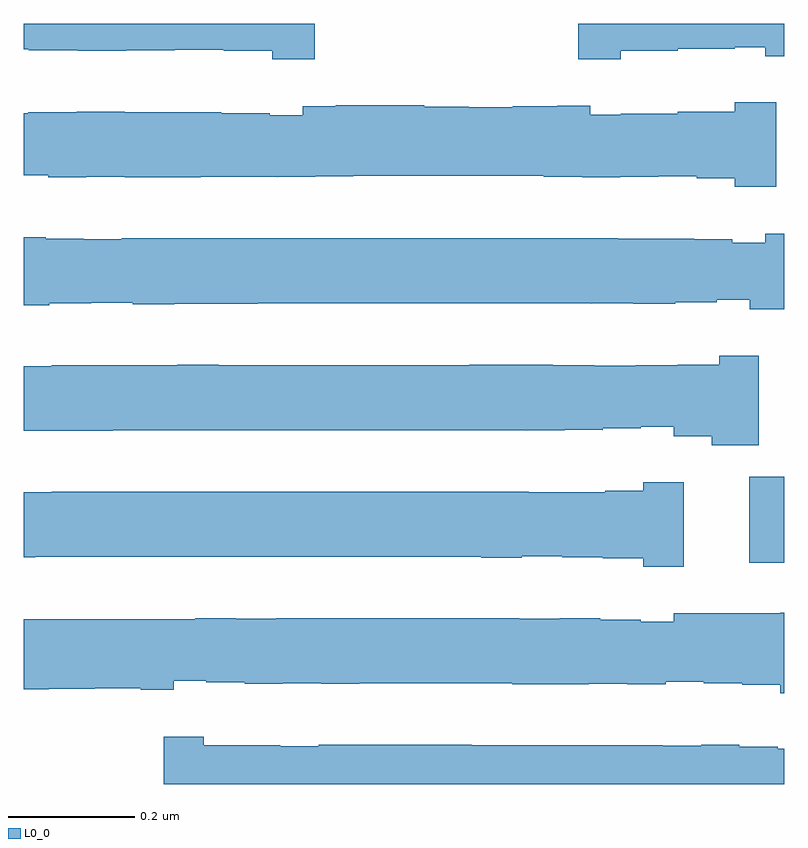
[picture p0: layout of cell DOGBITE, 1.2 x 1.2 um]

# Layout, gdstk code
import gdstk
lib = gdstk.Library(unit=1e-6, precision=1e-10)
def R(c, l, rs):  # rectangles x0, y0, x1, y1
    for r in rs: c.add(gdstk.rectangle(r[:2], r[2:], *l))
def P(c, l, *ps):  # polygons
    for p in ps: c.add(gdstk.Polygon(p, *l))
L0_0 = (0, 0)

dogbite = lib.new_cell('DOGBITE')
R(dogbite, L0_0, [(10.5448,9.7494,10.6,9.885)])
P(dogbite, L0_0, [(9.6203,9.4744),(9.6841,9.4744),(9.6841,9.4611),(9.7445,9.4611),(9.7445,9.4615),(9.8049,9.4615),(9.8049,9.4597),(9.8653,9.4597),(9.8653,9.4618),(9.9257,9.4618),(9.9257,9.4616),(9.9861,9.4616),(9.9861,9.4617),(10.0465,9.4617),(10.0465,9.4616),(10.1069,9.4616),(10.1069,9.4615),(10.2277,9.4615),(10.2277,9.4614),(10.2881,9.4614),(10.2881,9.4613),(10.3485,9.4613),(10.3485,9.4615),(10.4089,9.4615),(10.4089,9.4605),(10.4693,9.4605),(10.4693,9.4617),(10.5297,9.4617),(10.5297,9.4587),(10.5901,9.4587),(10.5901,9.4559),(10.6,9.4559),(10.6,9.4),(9.6203,9.4)],
  [(10.5941,9.543),(10.5941,9.5565),(10.5337,9.5565),(10.5337,9.5588),(10.4733,9.5588),(10.4733,9.5616),(10.4129,9.5616),(10.4129,9.5572),(10.3525,9.5572),(10.3525,9.5584),(10.2921,9.5584),(10.2921,9.5578),(10.1713,9.5578),(10.1713,9.5579),(10.0505,9.5579),(10.0505,9.558),(9.9901,9.558),(9.9901,9.5579),(9.9297,9.5579),(9.9297,9.5584),(9.8693,9.5584),(9.8693,9.5589),(9.8089,9.5589),(9.8089,9.558),(9.7485,9.558),(9.7485,9.5607),(9.6881,9.5607),(9.6881,9.5631),(9.6361,9.5631),(9.6361,9.5489),(9.5841,9.5489),(9.5841,9.5501),(9.5114,9.5501),(9.5114,9.5504),(9.4388,9.5504),(9.4388,9.5495),(9.4,9.5495),(9.4,9.6599),(9.5421,9.6599),(9.5421,9.6598),(9.6061,9.6598),(9.6061,9.6604),(9.6701,9.6604),(9.6701,9.6616),(9.7341,9.6616),(9.7341,9.6611),(9.7981,9.6611),(9.7981,9.6614),(9.9261,9.6614),(9.9261,9.6615),(10.0541,9.6615),(10.0541,9.6616),(10.1181,9.6616),(10.1181,9.6614),(10.1821,9.6614),(10.1821,9.6608),(10.2461,9.6608),(10.2461,9.6615),(10.3101,9.6615),(10.3101,9.6594),(10.3741,9.6594),(10.3741,9.6559),(10.4261,9.6559),(10.4261,9.6698),(10.5941,9.6698),(10.5941,9.6702),(10.6,9.6702),(10.6,9.543)],
  [(9.4441,9.861),(9.4441,9.8614),(9.5401,9.8614),(9.5401,9.8613),(9.713,9.8613),(9.713,9.8615),(9.7735,9.8615),(9.7735,9.8616),(10.0758,9.8616),(10.0758,9.8614),(10.1363,9.8614),(10.1363,9.8618),(10.1967,9.8618),(10.1967,9.8604),(10.2572,9.8604),(10.2572,9.8605),(10.3176,9.8605),(10.3176,9.863),(10.3781,9.863),(10.3781,9.8766),(10.4417,9.8766),(10.4417,9.7427),(10.3781,9.7427),(10.3781,9.7561),(10.3141,9.7561),(10.3141,9.7582),(10.2501,9.7582),(10.2501,9.7597),(10.1861,9.7597),(10.1861,9.7576),(10.1221,9.7576),(10.1221,9.7579),(10.0581,9.7579),(10.0581,9.7578),(9.8021,9.7578),(9.8021,9.758),(9.7381,9.758),(9.7381,9.7577),(9.5461,9.7577),(9.5461,9.7578),(9.4821,9.7578),(9.4821,9.7577),(9.4181,9.7577),(9.4181,9.7579),(9.4,9.7579),(9.4,9.861)],
  [(9.444,10.0598),(9.444,10.0614),(9.5099,10.0614),(9.5099,10.0611),(9.5757,10.0611),(9.5757,10.0615),(9.6416,10.0615),(9.6416,10.0616),(9.7075,10.0616),(9.7075,10.0614),(9.7734,10.0614),(9.7734,10.0615),(9.8393,10.0615),(9.8393,10.0614),(10.0369,10.0614),(10.0369,10.0615),(10.1028,10.0615),(10.1028,10.0616),(10.1687,10.0616),(10.1687,10.0617),(10.2346,10.0617),(10.2346,10.0614),(10.3005,10.0614),(10.3005,10.0607),(10.3663,10.0607),(10.3663,10.0609),(10.4322,10.0609),(10.4322,10.062),(10.4981,10.062),(10.4981,10.0764),(10.56,10.0764),(10.56,9.9351),(10.4861,9.9351),(10.4861,9.9491),(10.4261,9.9491),(10.4261,9.9641),(10.3741,9.9641),(10.3741,9.9614),(10.3139,9.9614),(10.3139,9.9584),(10.2538,9.9584),(10.2538,9.9589),(10.1936,9.9589),(10.1936,9.9579),(10.1335,9.9579),(10.1335,9.9577),(10.0733,9.9577),(10.0733,9.9579),(9.8929,9.9579),(9.8929,9.958),(9.8327,9.958),(9.8327,9.9578),(9.7124,9.9578),(9.7124,9.958),(9.6523,9.958),(9.6523,9.9581),(9.5921,9.9581),(9.5921,9.9578),(9.5401,9.9578),(9.5401,9.9581),(9.4,9.9581),(9.4,10.0598)],
  [(10.5461,10.1493),(10.5461,10.1647),(10.4941,10.1647),(10.4941,10.1606),(10.4282,10.1606),(10.4282,10.1585),(10.3623,10.1585),(10.3623,10.159),(10.2965,10.159),(10.2965,10.1583),(10.2306,10.1583),(10.2306,10.1582),(10.1647,10.1582),(10.1647,10.1584),(10.0988,10.1584),(10.0988,10.1583),(9.9012,10.1583),(9.9012,10.1582),(9.8353,10.1582),(9.8353,10.1581),(9.7694,10.1581),(9.7694,10.1579),(9.6376,10.1579),(9.6376,10.1578),(9.5717,10.1578),(9.5717,10.1589),(9.5059,10.1589),(9.5059,10.1587),(9.44,10.1587),(9.44,10.1558),(9.4,10.1558),(9.4,10.263),(9.4343,10.263),(9.4343,10.2606),(9.4945,10.2606),(9.4945,10.2602),(9.5547,10.2602),(9.5547,10.2617),(9.6149,10.2617),(9.6149,10.2616),(9.7354,10.2616),(9.7354,10.2618),(9.8558,10.2618),(9.8558,10.2619),(9.916,10.2619),(9.916,10.262),(10.0364,10.262),(10.0364,10.2619),(10.217,10.2619),(10.217,10.2617),(10.2773,10.2617),(10.2773,10.2619),(10.3375,10.2619),(10.3375,10.2607),(10.3977,10.2607),(10.3977,10.2611),(10.4579,10.2611),(10.4579,10.2599),(10.5181,10.2599),(10.5181,10.2549),(10.5701,10.2549),(10.5701,10.269),(10.6,10.269),(10.6,10.1493)],
  [(9.4067,10.4594),(9.4067,10.4609),(9.483,10.4609),(9.483,10.4616),(9.5592,10.4616),(9.5592,10.4608),(9.7118,10.4608),(9.7118,10.4592),(9.7881,10.4592),(9.7881,10.4557),(9.8401,10.4557),(9.8401,10.4699),(9.8921,10.4699),(9.8921,10.4719),(10.0321,10.4719),(10.0321,10.4694),(10.1021,10.4694),(10.1021,10.4688),(10.1721,10.4688),(10.1721,10.4698),(10.2421,10.4698),(10.2421,10.4709),(10.2941,10.4709),(10.2941,10.4564),(10.3421,10.4564),(10.3421,10.458),(10.4321,10.458),(10.4321,10.4618),(10.5221,10.4618),(10.5221,10.4767),(10.5876,10.4767),(10.5876,10.3428),(10.5221,10.3428),(10.5221,10.3568),(10.4619,10.3568),(10.4619,10.3593),(10.4017,10.3593),(10.4017,10.359),(10.3415,10.359),(10.3415,10.358),(10.2813,10.358),(10.2813,10.3592),(10.221,10.3592),(10.221,10.3598),(10.1608,10.3598),(10.1608,10.3596),(10.1006,10.3596),(10.1006,10.3597),(9.92,10.3597),(9.92,10.36),(9.8598,10.36),(9.8598,10.3585),(9.7996,10.3585),(9.7996,10.3582),(9.6792,10.3582),(9.6792,10.358),(9.5587,10.358),(9.5587,10.3591),(9.4985,10.3591),(9.4985,10.3579),(9.4383,10.3579),(9.4383,10.3608),(9.4,10.3608),(9.4,10.4594)],
  [(9.859,10.5444),(9.7921,10.5444),(9.7921,10.5574),(9.7152,10.5574),(9.7152,10.5591),(9.6384,10.5591),(9.6384,10.5582),(9.5615,10.5582),(9.5615,10.558),(9.4847,10.558),(9.4847,10.5587),(9.4078,10.5587),(9.4078,10.5601),(9.4,10.5601),(9.4,10.6),(9.859,10.6)],
  [(10.6,10.5491),(10.5701,10.5491),(10.5701,10.5632),(10.5221,10.5632),(10.5221,10.5609),(10.4321,10.5609),(10.4321,10.5581),(10.3421,10.5581),(10.3421,10.5441),(10.2752,10.5441),(10.2752,10.6),(10.6,10.6)])

lib.write_gds('DOGBITE.gds')
